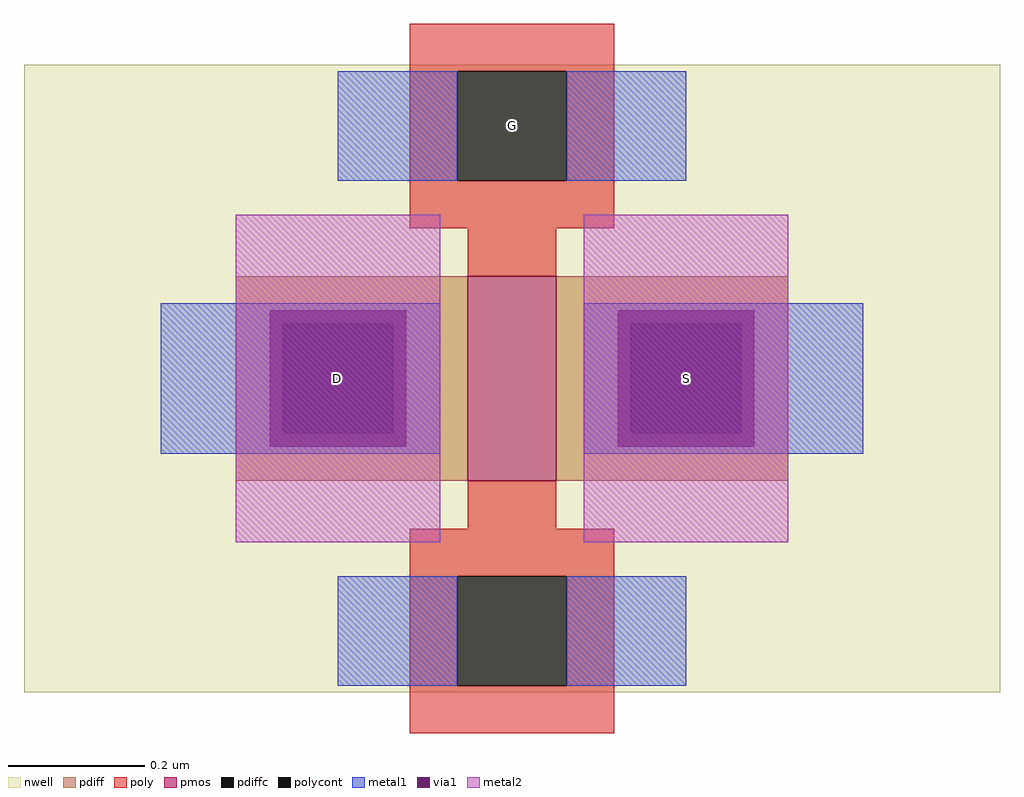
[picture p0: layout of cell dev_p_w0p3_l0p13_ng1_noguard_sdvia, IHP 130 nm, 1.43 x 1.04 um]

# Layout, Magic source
magic
tech ihp-sg13cmos5l
magscale 1 2
<< nwell >>
rect -143 -92 143 92
<< pmos >>
rect -13 -30 13 30
<< pdiff >>
rect -81 16 -13 30
rect -81 -16 -67 16
rect -35 -16 -13 16
rect -81 -30 -13 -16
rect 13 16 81 30
rect 13 -16 35 16
rect 67 -16 81 16
rect 13 -30 81 -16
<< pdiffc >>
rect -67 -16 -35 16
rect 35 -16 67 16
<< poly >>
rect -30 90 30 104
rect -30 58 -16 90
rect 16 58 30 90
rect -30 44 30 58
rect -13 30 13 44
rect -13 -44 13 -30
rect -30 -58 30 -44
rect -30 -90 -16 -58
rect 16 -90 30 -58
rect -30 -104 30 -90
<< polycont >>
rect -16 58 16 90
rect -16 -90 16 -58
<< metal1 >>
rect -51 58 -16 90
rect 16 58 51 90
rect -103 -22 -21 22
rect 21 -22 103 22
rect -51 -90 -16 -58
rect 16 -90 51 -58
<< via1 >>
rect -71 16 -31 20
rect -71 -16 -67 16
rect -67 -16 -35 16
rect -35 -16 -31 16
rect -71 -20 -31 -16
rect 31 16 71 20
rect 31 -16 35 16
rect 35 -16 67 16
rect 67 -16 71 16
rect 31 -20 71 -16
<< metal2 >>
rect -81 -48 -21 48
rect 21 -48 81 48
<< labels >>
rlabel pdiffc -51 0 -51 0 0 D
port 1 nsew
rlabel pdiffc 51 0 51 0 0 S
port 2 nsew
rlabel polycont 0 74 0 74 0 G
port 3 nsew
<< properties >>
string gencell sg13_lv_pmos
string library sg13cmos5l
string parameters w 0.3 l 0.13 m 1 ng 1 diffcov 100 polycov 100 guard 0 glc 1 grc 1 gtc 1 gbc 1 tbcov 100 rlcov 100 topc 1 botc 1 poverlap 0 doverlap 1 lmin 0.13 wmin 0.15 class mosfet compatible {sg13_lv_pmos sg13_hv_pmos} full_metal 1 conn_gates 1 gate_ring 0 ccols 1 viasrc 100 viadrn 100 viagate 0 viagb 0 viagr 0 viagl 0 viagt 0 doports 1
<< end >>
